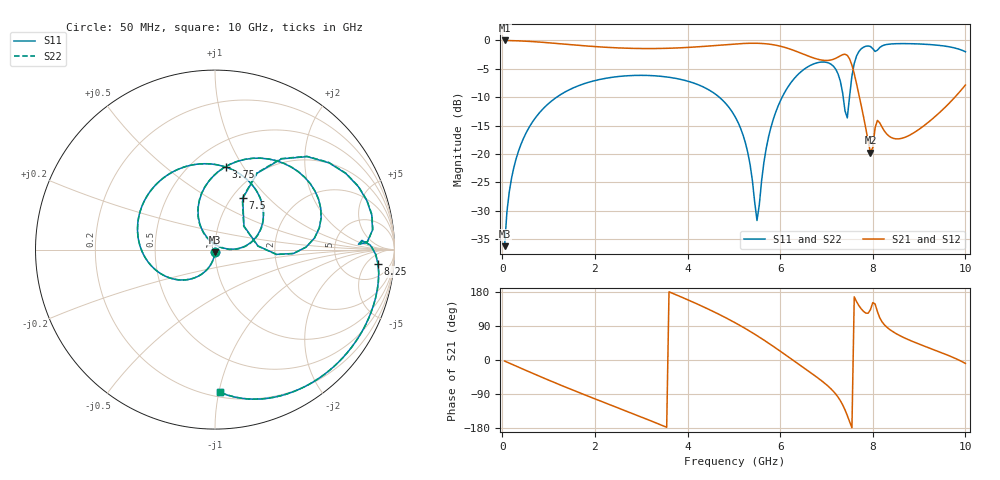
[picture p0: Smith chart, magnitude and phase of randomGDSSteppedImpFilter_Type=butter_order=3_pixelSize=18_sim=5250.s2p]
! freq	dB(S11)	phase(S11)	dB(S12)	phase(S12)
!  dB(S21)	phase(S21)	dB(S22)	phase(S22)
!S-par simulation data
#  GHz  S  DB  R 50
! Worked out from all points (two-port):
!   200 points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, 50 MHz to 10 GHz, reference 50 ohm
!   highest |S21| = -0.01 dB at 50 MHz (marker M1); lowest = -19.8 dB at 7.95 GHz (marker M2)
!   |S21| within 3 dB of the highest: start of sweep to 6.691 GHz; 7.234 GHz to 7.48 GHz (245.5 MHz wide, 3.34 % of centre)
!   lowest |S11| = -36.2 dB at 50 MHz (marker M3), VSWR 1.03, Z = 49.9 - j1.54 ohm
!   |S11| at or under -10 dB: start of sweep to 1.173 GHz; 4.686 GHz to 6.043 GHz (1.357 GHz wide, 25.3 % of centre); 7.362 GHz to 7.497 GHz (135.3 MHz wide, 1.82 % of centre)
!   |S22| runs from -36.2 to -0.6 dB; largest |S21 - S12| = 0
!   S11 on the Smith chart (normalised r, x): 50 MHz: 1.00, -0.03; 3.75 GHz: 0.72, +0.84; 7.5 GHz: 1.12, +0.72; 8.25 GHz: 12, -11; 10 GHz: 0.23, -1.01
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0.05  -36.22 -92.3  -0.01 -2.7  -0.01 -2.7  -36.22 -92.3
0.2  -24.25 -101.2  -0.03 -10.9  -0.03 -10.9  -24.25 -101.2
0.5  -16.51 -117.3  -0.13 -26.9  -0.13 -26.9  -16.51 -117.3
1.75  -7.66 178.9  -0.93 -90.5  -0.93 -90.5  -7.66 178.8
3.4  -6.29 99.7  -1.42 -170.1  -1.42 -170.1  -6.29 99.5
3.75  -6.69 82.2  -1.33 172.2  -1.33 172.2  -6.69 82.0
5.05  -13.77 11.5  -0.61 96.8  -0.61 96.8  -13.78 10.9
5.3  -19.70 1.3  -0.51 79.3  -0.51 79.3  -19.73 0.3
5.5  -31.71 58.4  -0.50 64.3  -0.50 64.3  -32.32 58.0
5.7  -18.95 123.8  -0.60 48.5  -0.60 48.5  -18.99 124.6
5.9  -12.73 114.2  -0.83 31.9  -0.83 31.9  -12.74 114.5
6.7  -4.22 51.2  -3.03 -37.1  -3.03 -37.1  -4.22 51.2
7.3  -7.18 -2.8  -2.71 -107.3  -2.71 -107.3  -7.19 -2.9
7.45  -13.64 39.1  -2.63 -146.6  -2.63 -146.6  -13.71 39.2
7.5  -9.78 61.6  -3.26 -162.8  -3.26 -162.8  -9.81 61.9
7.65  -2.74 45.3  -7.63 154.0  -7.63 154.0  -2.74 45.5
7.95  -1.07 7.0  -19.75 132.9  -19.75 132.9  -1.04 7.4
8.1  -1.72 3.6  -14.08 127.8  -14.08 127.8  -1.66 3.4
8.25  -0.81 -5.0  -15.94 93.0  -15.94 93.0  -0.79 -5.1
8.35  -0.65 -11.1  -16.84 81.9  -16.84 81.9  -0.65 -11.2
9.2  -0.71 -50.9  -14.40 32.6  -14.40 32.6  -0.71 -50.9
10  -1.99 -88.1  -7.86 -9.0  -7.86 -9.0  -1.99 -88.0
